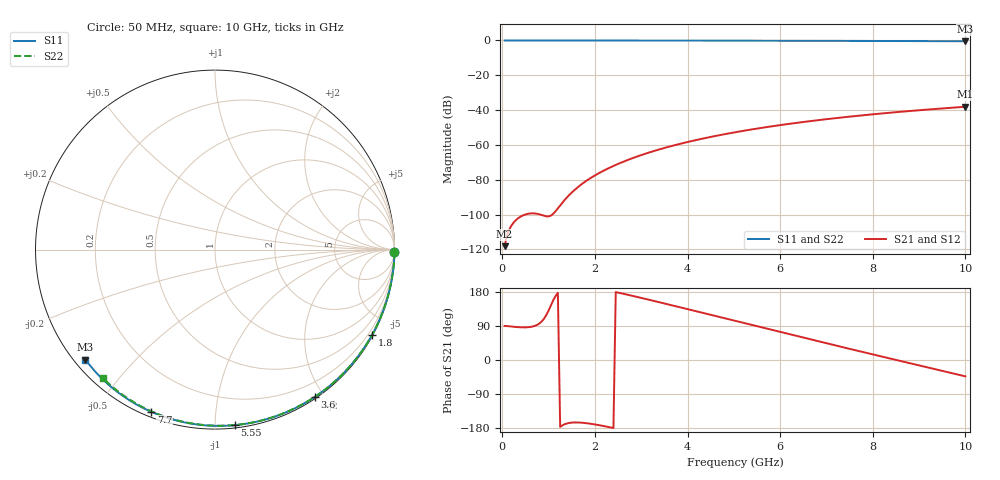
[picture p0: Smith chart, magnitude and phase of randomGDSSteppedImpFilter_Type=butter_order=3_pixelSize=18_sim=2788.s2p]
! freq	dB(S11)	phase(S11)	dB(S12)	phase(S12)
!  dB(S21)	phase(S21)	dB(S22)	phase(S22)
!S-par simulation data
#  GHz  S  DB  R 50
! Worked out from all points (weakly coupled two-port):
!   200 points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, 50 MHz to 10 GHz, reference 50 ohm
!   highest |S21| = -38.10 dB at 10 GHz (marker M1); lowest = -118.2 dB at 50 MHz (marker M2)
!   lowest |S11| = -0.5 dB at 10 GHz (marker M3), VSWR 36.75, Z = 1.54 - j18.3 ohm
!   |S11| at or under -10 dB: nowhere
!   |S22| runs from -0.4 to 0.0 dB; largest |S21 - S12| = 0
!   S11 on the Smith chart (normalised r, x): 50 MHz: open; 1.8 GHz: 0.03, -3.91; 3.6 GHz: 0.02, -1.88; 5.55 GHz: 0.02, -1.12; 7.7 GHz: 0.02, -0.68; 10 GHz: 0.03, -0.37
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0.05  -0.00 -0.8  -118.16 90.0  -118.16 90.0  -0.00 -0.8
0.45  -0.01 -7.3  -100.44 86.1  -100.44 86.1  -0.01 -6.8
0.9  -0.02 -14.5  -100.69 108.7  -100.69 108.7  -0.02 -13.6
1.75  -0.04 -27.9  -81.85 -165.8  -81.85 -165.8  -0.03 -26.1
1.8  -0.04 -28.7  -80.90 -166.5  -80.90 -166.5  -0.03 -26.9
1.85  -0.04 -29.5  -80.01 -167.3  -80.01 -167.3  -0.04 -27.6
2  -0.04 -31.8  -77.53 -170.0  -77.53 -170.0  -0.04 -29.8
2.15  -0.04 -34.1  -75.31 -173.3  -75.31 -173.3  -0.04 -32.0
2.35  -0.05 -37.2  -72.68 -178.2  -72.68 -178.2  -0.04 -34.9
2.55  -0.05 -40.3  -70.33 176.5  -70.33 176.5  -0.05 -37.7
2.95  -0.06 -46.3  -66.30 165.3  -66.30 165.3  -0.06 -43.4
3.4  -0.07 -53.1  -62.51 152.2  -62.51 152.2  -0.07 -49.8
3.6  -0.08 -56.0  -61.03 146.2  -61.03 146.2  -0.07 -52.5
4.3  -0.09 -66.1  -56.53 125.2  -56.53 125.2  -0.09 -62.1
5.05  -0.12 -76.7  -52.63 102.5  -52.63 102.5  -0.11 -72.0
5.55  -0.14 -83.5  -50.41 87.5  -50.41 87.5  -0.13 -78.5
6.1  -0.16 -90.9  -48.25 70.9  -48.25 70.9  -0.15 -85.4
6.7  -0.19 -98.7  -46.17 53.0  -46.17 53.0  -0.18 -92.8
7.7  -0.25 -111.5  -43.21 23.5  -43.21 23.5  -0.24 -104.8
8.35  -0.31 -119.5  -41.56 4.6  -41.56 4.6  -0.29 -112.4
9.2  -0.38 -130.0  -39.66 -20.0  -39.66 -20.0  -0.36 -122.1
10  -0.47 -139.7  -38.10 -43.2  -38.10 -43.2  -0.45 -131.1
